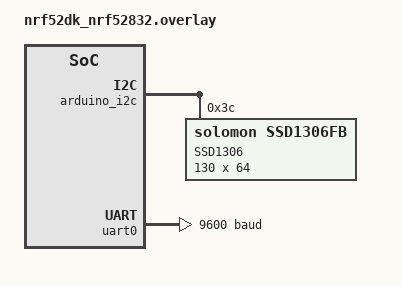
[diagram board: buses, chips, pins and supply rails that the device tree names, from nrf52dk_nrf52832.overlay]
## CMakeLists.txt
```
cmake_minimum_required(VERSION 3.20.0)
find_package(Zephyr REQUIRED HINTS $ENV{ZEPHYR_BASE})

project(rs485_data_on_led)

target_sources(app PRIVATE src/main.c)
```

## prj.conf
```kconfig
CONFIG_GPIO=y

CONFIG_HEAP_MEM_POOL_SIZE=16384
CONFIG_MAIN_STACK_SIZE=4096

CONFIG_DEBUG_OPTIMIZATIONS=y
CONFIG_ASSERT=y

CONFIG_I2C=y

CONFIG_DISPLAY=y
CONFIG_DISPLAY_LOG_LEVEL_DBG=y
# CONFIG_LOG_STRDUP_BUF_COUNT=16
# CONFIG_SSD1306_REVERSE_MODE=y
CONFIG_LOG=y

CONFIG_SSD1306=y
# CONFIG_SSD1306_SH1106_COMPATIBLE=n

CONFIG_LOG=y

# Console
CONFIG_CONSOLE=y
# CONFIG_UART_CONSOLE=n
CONFIG_STDOUT_CONSOLE=y
CONFIG_PRINTK=y
CONFIG_EARLY_CONSOLE=y
CONFIG_USE_SEGGER_RTT=y
CONFIG_RTT_CONSOLE=y

# CFB
CONFIG_CFB_LOG_LEVEL_DBG=y
CONFIG_CHARACTER_FRAMEBUFFER=y
CONFIG_SSD1306_DEFAULT_CONTRAST=128
# CONFIG_SSD1306_DEFAULT=y
# CONFIG_SSD1306=y
# CONFIG_SSD1306_REVERSE_MODE=y
CONFIG_SSD1306_SH1106_COMPATIBLE=y


CONFIG_SERIAL=y
CONFIG_UART_INTERRUPT_DRIVEN=y
CONFIG_UART_USE_RUNTIME_CONFIGURE=y
```

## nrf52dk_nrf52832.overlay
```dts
/*
 * Copyright (c) 2021 Nordic Semiconductor ASA
 *
 * SPDX-License-Identifier: Apache-2.0
 */


//  / {
// 	chosen {
// 		zephyr,display = &st7735s_st7735s_128x160;
// 	};
// };

// &arduino_spi {
// 	status = "okay";
// 	cs-gpios = <&arduino_header 16 GPIO_ACTIVE_LOW>;    /* D10 */

// 	st7735s_st7735s_128x160: st7735r@0 {
// 		compatible = "sitronix,st7735r";
// 		spi-max-frequency = <20000000>;
// 		reg = <0>;
// 		// lcd-logic-power-gpios = <&arduino_header 13 GPIO_ACTIVE_HIGH>;    /* D7 */
// 		// lcd-backlight-power-gpios = <&arduino_header 10 GPIO_ACTIVE_HIGH>;    /* D4 */
// 		cmd-data-gpios = <&arduino_header 15 GPIO_ACTIVE_LOW>;    /* D9 */
// 		reset-gpios = <&arduino_header 14 GPIO_ACTIVE_LOW>;    /* D8 */
// 		width = <128>;
// 		height = <160>;
// 		x-offset = <0>;
// 		y-offset = <0>;
// 		madctl = <0xc0>;
// 		colmod = <0x55>;
// 		caset = [ 00 00 00 4F  ];
// 		raset = [ 00 00 00 9F  ];
// 		vmctr1 = <0x0e>;
// 		invctr = <0x07>;
// 		pwctr1 = [ a2 02 84  ];
// 		pwctr2 = [ c5  ];
// 		pwctr3 = [ 0a 00  ];
// 		pwctr4 = [ 8a 2a  ];
// 		pwctr5 = [ 8a ee  ];
// 		frmctr1 = [ 01 2c 2d  ];
// 		frmctr2 = [ 01 2c 2d  ];
// 		frmctr3 = [ 01 2c 2d 01 2c 2d  ];
// 		gamctrp1 = [ 02 1c 07 12 37 32 29 2d 29 25 2b 39 00 01 03 10  ];
// 		gamctrn1 = [ 03 1d 07 06 2e 2c 29 2d 2e 2e 37 3f 00 00 02 10  ];
// 	};
// };

// &pinctrl {
// 	i2c0_default: i2c0_default {
// 		group1 {
// 			psels = <NRF_PSEL(TWIM_SDA, 0, 26)>,
// 					<NRF_PSEL(TWIM_SCL, 0, 27)>;
// 		};
// 	};

// 	i2c0_sleep: i2c0_sleep {
// 		group1 {
// 			psels = <NRF_PSEL(TWIM_SDA, 0, 26)>,
// 					<NRF_PSEL(TWIM_SCL, 0, 27)>;
// 			low-power-enable;
// 		};
// 	};

// };

// &i2c0 {
// 	compatible = "nordic,nrf-twim";
// 	status = "okay";

// 	clock-frequency = <I2C_BITRATE_STANDARD>;

// 	sht4x@44 {
// 		status = "okay";
// 		compatible = "sensirion,sht4x";
// 		reg = <0x44>;
// 		label = "SHT4X";
// 		repeatability = <2>;
// 	};
// 	mysensor: mysensor@39 {
// 		status = "okay";
// 		compatible = "i2c-device";
// 		reg = <0x39>;

// 		label = "STTS751";
// 		repeatability = <2>;

// 	};
// 	vcnl4040@60 {
// 		status = "okay";
// 		compatible = "vishay,vcnl4040";
// 		reg = <0x60>;
// 		led-current = <200>;
// 		led-duty-cycle = <320>;
// 		label = "VCNL";
// 		status = "okay";
// 		// repeatability = <2>;
// 	};


// };
// / {
// 	zephyr,user {
// 		io-channels = <&adc 4>;
// 	};
// };



// &rng_hci {
// 	status = "okay";
// };


////////////////////////////////////////////////

&arduino_i2c {
    status = "okay";
    compatible = "nordic,nrf-twi";
    
	ssd1306_ssd1306_128x64_I2C: ssd1306@3c {
        compatible = "solomon,ssd1306fb";
		reg = <0x3c>;
        label = "SSD1306";
		width = <130>;
		height = <64>;
		segment-offset = <0>;
		page-offset = <0>;
		display-offset = <0>;
		multiplex-ratio = <63>;
		segment-remap;
		com-invdir;
		prechargep = <0x22>;
	};
};


&uart0 {
	compatible = "nordic,nrf-uarte";
	status = "okay";
	label = "UART_0";
	current-speed = < 9600 >;
  //   tx-pin = < 9 >;
  //   rx-pin = < 10 >;
  //   rts-pin = < 11 >;
  //   cts-pin = < 12 >;
  };
```

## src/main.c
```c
#include <zephyr/kernel.h>
#include <zephyr/device.h>
#include <zephyr/drivers/uart.h>
#include <zephyr/drivers/gpio.h>
#include <zephyr/sys/ring_buffer.h>
#include <stdlib.h>
#include <string.h>
#include <limits.h>
#include <zephyr/drivers/display.h>
#include <zephyr/display/cfb.h>
#include <stdio.h>

/* change this to any other UART peripheral if desired */
#define UART_DEVICE_NODE DT_CHOSEN(zephyr_shell_uart)

/* Get the UART device specified in the device tree */
static const struct device *const uart_dev = DEVICE_DT_GET(UART_DEVICE_NODE);

/* Function to initialize UART with specific settings */
void uart_init(void)
{
	struct uart_config uart_cfg;

	/* Set UART configuration parameters */
	uart_cfg.baudrate = 9600;
	uart_cfg.parity = UART_CFG_PARITY_NONE;
	uart_cfg.stop_bits = UART_CFG_STOP_BITS_1;
	uart_cfg.data_bits = UART_CFG_DATA_BITS_8;
	uart_cfg.flow_ctrl = UART_CFG_FLOW_CTRL_NONE;

	/* Configure the UART device with the settings */
	int ret = uart_configure(uart_dev, &uart_cfg);
	if (ret != 0) {
		printk("Failed to configure UART: %d\n", ret);
	}
}

/* Function to send a command via UART */
void send_uart_command(const uint8_t *cmd, size_t length)
{
	for (size_t i = 0; i < length; i++) {
		uart_poll_out(uart_dev, cmd[i]);
		k_msleep(1); // Small delay for each byte
	}
}

/* Function to receive data from UART */
int receive_uart_data(uint8_t *buf, size_t length, k_timeout_t timeout)
{
	size_t received_len = 0;
	int ret;
	uint32_t start_time = k_uptime_get();

	while (received_len < length) {
		ret = uart_poll_in(uart_dev, &buf[received_len]);
		if (ret == 0) {
			received_len++;
		} else if (ret == -1) {
			k_msleep(1);
			if (k_uptime_get() - start_time > timeout.ticks) {
				return -ETIMEDOUT;
			}
		} else {
			return ret;
		}
	}
	return 0;
}


int main(void)
{

	struct device *dev;
	uint8_t font_width;
	uint8_t font_height;
	uint16_t display_width;
	uint16_t display_height;

	dev = device_get_binding("SSD1306");

	if (dev == NULL) {
		printk("Device not found\n");
		return;
	}

	if (display_set_pixel_format(dev, PIXEL_FORMAT_MONO10) != 0) {
		printk("Failed to set required pixel format\n");
		return;
	}

	printk("initialized %s\n", "SSD1306");

	if (cfb_framebuffer_init(dev)) {
		printk("Framebuffer initialization failed!\n");
		return;
	}

	cfb_framebuffer_clear(dev, true);
	cfb_framebuffer_invert(dev);
	display_blanking_off(dev);

	if (cfb_get_font_size(dev, 0, &font_width, &font_height)) {
		printk("Failed to get font size\n");
		return;
	}

	display_width = cfb_get_display_parameter(dev, CFB_DISPLAY_WIDTH);
	display_height = cfb_get_display_parameter(dev, CFB_DISPLAY_HEIGH);

	if (!device_is_ready(uart_dev)) {
		printk("UART device not found!\n");
		return 0;
	}

	///////////////////////////////////////////

	uart_init(); // Initialize UART with specified settings

	uint8_t query_command[3] = {0xA5, 0x09, 0xAE}; // Query command
	uint8_t rx_buf[9];			       // Buffer to store received data

	while (1) {
		send_uart_command(query_command, sizeof(query_command)); // Send query command

		uint32_t ret = receive_uart_data(rx_buf, sizeof(rx_buf), K_MSEC(100));
        char text[] = {};
		if (ret == 0) {
			// Check for the correct frame header
			if (rx_buf[0] == 0x5A && rx_buf[1] == 0x5A) {
				// Process received data
				uint32_t lux = (rx_buf[4] << 24) | (rx_buf[5] << 16) |
					       (rx_buf[6] << 8) | rx_buf[7];
				uint32_t luxValue = lux / 100.0;

				printf("\rLight intensity: %d\n", luxValue);
				
				snprintf(text, 128, "%u", luxValue);
				uint16_t text_width = font_width;
				printk("Text width : %d\n", text_width);
				uint16_t text_height = font_height;
				printk("Text Height : %d\n", text_height);

				// Adjust starting position to display text at the bottom
				uint16_t start_x = (display_width) / 2 - text_width;
				uint16_t start_y = (display_height - text_height) / 2;

                cfb_framebuffer_clear(dev, true);

				if (cfb_print(dev, text, start_x, start_y)) {
					printk("Failed to print string\n");
					return;
				}
                
				cfb_framebuffer_finalize(dev);
				k_msleep(1000);
			} else {
				printk("Invalid frame header received: 0x%02X 0x%02X\n", rx_buf[0],
				       rx_buf[1]);
			}
		} else if (ret == -ETIMEDOUT) {
			printk("UART receive timeout\n");
		} else {
			// printk("UART receive error: %d\n", ret);
		}
        
		// k_msleep(200); // Small delay before sending the next query
	}

	return 0;
}
```
